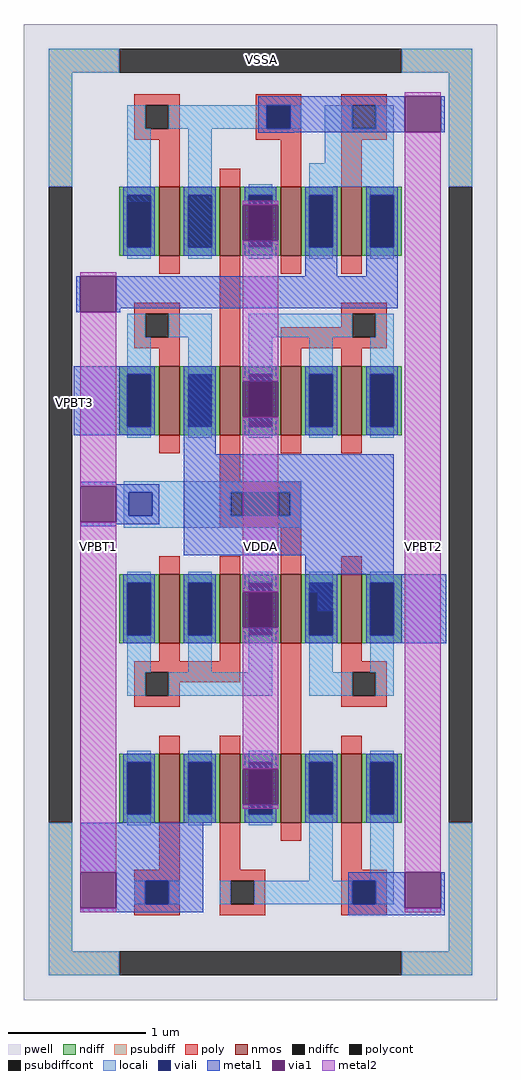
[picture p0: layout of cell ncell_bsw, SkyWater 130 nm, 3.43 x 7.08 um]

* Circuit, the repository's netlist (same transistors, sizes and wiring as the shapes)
* NGSPICE file created from ncell_bsw.ext - technology: sky130A

.subckt sky130_fd_pr__nfet_01v8_6J3TAM a_n15_n76# a_n73_n50# a_15_n50# VSUBS
X0 a_15_n50# a_n15_n76# a_n73_n50# VSUBS sky130_fd_pr__nfet_01v8 ad=0.145 pd=1.58 as=0.145 ps=1.58 w=0.5 l=0.15
.ends

.subckt ncell_bsw VDDA VPBT1 VPBT2 VPBT3 VSSA
Xsky130_fd_pr__nfet_01v8_6J3TAM_10 VPBT1 VDDA VPBT3 VSSA sky130_fd_pr__nfet_01v8_6J3TAM
Xsky130_fd_pr__nfet_01v8_6J3TAM_11 VPBT1 VPBT1 VPBT1 VSSA sky130_fd_pr__nfet_01v8_6J3TAM
Xsky130_fd_pr__nfet_01v8_6J3TAM_12 VPBT2 VDDA VPBT1 VSSA sky130_fd_pr__nfet_01v8_6J3TAM
Xsky130_fd_pr__nfet_01v8_6J3TAM_13 VPBT1 VPBT2 VDDA VSSA sky130_fd_pr__nfet_01v8_6J3TAM
Xsky130_fd_pr__nfet_01v8_6J3TAM_14 VPBT2 VPBT2 VPBT2 VSSA sky130_fd_pr__nfet_01v8_6J3TAM
Xsky130_fd_pr__nfet_01v8_6J3TAM_15 VPBT1 VPBT1 VPBT1 VSSA sky130_fd_pr__nfet_01v8_6J3TAM
Xsky130_fd_pr__nfet_01v8_6J3TAM_0 VDDA VDDA VDDA VSSA sky130_fd_pr__nfet_01v8_6J3TAM
Xsky130_fd_pr__nfet_01v8_6J3TAM_1 VPBT1 VPBT2 VDDA VSSA sky130_fd_pr__nfet_01v8_6J3TAM
Xsky130_fd_pr__nfet_01v8_6J3TAM_2 VPBT2 VDDA VPBT1 VSSA sky130_fd_pr__nfet_01v8_6J3TAM
Xsky130_fd_pr__nfet_01v8_6J3TAM_3 VPBT2 VPBT2 VPBT2 VSSA sky130_fd_pr__nfet_01v8_6J3TAM
Xsky130_fd_pr__nfet_01v8_6J3TAM_4 VPBT3 VPBT3 VPBT3 VSSA sky130_fd_pr__nfet_01v8_6J3TAM
Xsky130_fd_pr__nfet_01v8_6J3TAM_5 VPBT1 VPBT3 VDDA VSSA sky130_fd_pr__nfet_01v8_6J3TAM
Xsky130_fd_pr__nfet_01v8_6J3TAM_6 VDDA VDDA VDDA VSSA sky130_fd_pr__nfet_01v8_6J3TAM
Xsky130_fd_pr__nfet_01v8_6J3TAM_7 VPBT3 VPBT3 VPBT3 VSSA sky130_fd_pr__nfet_01v8_6J3TAM
Xsky130_fd_pr__nfet_01v8_6J3TAM_8 VDDA VDDA VDDA VSSA sky130_fd_pr__nfet_01v8_6J3TAM
Xsky130_fd_pr__nfet_01v8_6J3TAM_9 VDDA VDDA VDDA VSSA sky130_fd_pr__nfet_01v8_6J3TAM
.ends

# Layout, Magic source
magic
tech sky130A
magscale 1 2
<< pwell >>
rect 4653 -1676 5339 -261
<< psubdiff >>
rect 4689 -332 4791 -297
rect 5201 -332 5303 -297
rect 4689 -497 4723 -332
rect 5269 -497 5303 -332
rect 4689 -1605 4723 -1419
rect 5269 -1605 5303 -1419
rect 4689 -1640 4791 -1605
rect 5201 -1640 5303 -1605
<< psubdiffcont >>
rect 4791 -332 5201 -297
rect 4689 -1419 4723 -497
rect 5269 -1419 5303 -497
rect 4791 -1640 5201 -1605
<< poly >>
rect 4813 -379 4879 -363
rect 4813 -413 4829 -379
rect 4863 -413 4879 -379
rect 4813 -429 4879 -413
rect 4989 -379 5055 -363
rect 4989 -413 5005 -379
rect 5039 -413 5055 -379
rect 4989 -429 5055 -413
rect 4849 -471 4879 -429
rect 5025 -471 5055 -429
rect 5113 -379 5179 -363
rect 5113 -413 5129 -379
rect 5163 -413 5179 -379
rect 5113 -429 5179 -413
rect 5113 -471 5143 -429
rect 4813 -681 4879 -665
rect 4813 -715 4829 -681
rect 4863 -715 4879 -681
rect 4813 -731 4879 -715
rect 4937 -731 4967 -623
rect 5113 -681 5179 -665
rect 5113 -701 5129 -681
rect 5025 -715 5129 -701
rect 5163 -715 5179 -681
rect 5025 -731 5179 -715
rect 4937 -925 4967 -883
rect 4937 -940 5055 -925
rect 4937 -974 4953 -940
rect 5039 -974 5055 -940
rect 4937 -991 5055 -974
rect 5025 -1033 5055 -991
rect 4813 -1201 4967 -1185
rect 4813 -1235 4829 -1201
rect 4863 -1215 4967 -1201
rect 4863 -1235 4879 -1215
rect 4813 -1251 4879 -1235
rect 5025 -1293 5055 -1185
rect 5113 -1201 5179 -1185
rect 5113 -1235 5129 -1201
rect 5163 -1235 5179 -1201
rect 5113 -1251 5179 -1235
rect 4849 -1487 4879 -1419
rect 4813 -1503 4879 -1487
rect 4813 -1537 4829 -1503
rect 4863 -1537 4879 -1503
rect 4813 -1553 4879 -1537
rect 4937 -1487 4967 -1419
rect 5113 -1487 5143 -1419
rect 4937 -1503 5003 -1487
rect 4937 -1537 4953 -1503
rect 4987 -1537 5003 -1503
rect 4937 -1553 5003 -1537
rect 5113 -1503 5179 -1487
rect 5113 -1537 5129 -1503
rect 5163 -1537 5179 -1503
rect 5113 -1553 5179 -1537
<< polycont >>
rect 4829 -413 4863 -379
rect 5005 -413 5039 -379
rect 5129 -413 5163 -379
rect 4829 -715 4863 -681
rect 5129 -715 5163 -681
rect 4953 -974 5039 -940
rect 4829 -1235 4863 -1201
rect 5129 -1235 5163 -1201
rect 4829 -1537 4863 -1503
rect 4953 -1537 4987 -1503
rect 5129 -1537 5163 -1503
<< locali >>
rect 4689 -332 4791 -297
rect 5201 -332 5303 -297
rect 4689 -497 4723 -332
rect 4803 -413 4829 -379
rect 4863 -413 5005 -379
rect 5039 -413 5055 -379
rect 5089 -413 5129 -379
rect 5163 -413 5189 -379
rect 4803 -519 4837 -413
rect 4891 -598 4925 -413
rect 5089 -463 5189 -413
rect 5067 -493 5189 -463
rect 5089 -497 5189 -493
rect 5269 -497 5303 -332
rect 4803 -715 4829 -681
rect 4863 -715 4925 -681
rect 4803 -757 4837 -715
rect 4891 -758 4925 -715
rect 4979 -715 5129 -681
rect 5163 -715 5189 -681
rect 4979 -754 5013 -715
rect 5067 -766 5101 -715
rect 5155 -757 5189 -715
rect 4798 -940 5055 -924
rect 4798 -974 4805 -940
rect 4839 -974 4953 -940
rect 5039 -974 5055 -940
rect 4798 -991 5055 -974
rect 4803 -1201 4837 -1163
rect 4891 -1201 4925 -1163
rect 4979 -1201 5013 -1163
rect 4803 -1235 4829 -1201
rect 4863 -1235 5013 -1201
rect 5067 -1201 5101 -1163
rect 5155 -1201 5189 -1163
rect 5067 -1235 5129 -1201
rect 5163 -1235 5189 -1201
rect 4689 -1605 4723 -1419
rect 5067 -1503 5101 -1417
rect 5155 -1503 5189 -1417
rect 4813 -1537 4829 -1503
rect 4863 -1537 4879 -1503
rect 4937 -1537 4953 -1503
rect 4987 -1537 5129 -1503
rect 5163 -1537 5189 -1503
rect 5269 -1605 5303 -1419
rect 4689 -1640 4791 -1605
rect 5201 -1640 5303 -1605
<< viali >>
rect 5005 -413 5039 -379
rect 4805 -974 4839 -940
rect 4829 -1537 4863 -1503
rect 5129 -1537 5163 -1503
<< metal1 >>
rect 4993 -379 5205 -366
rect 4993 -413 5005 -379
rect 5039 -413 5205 -379
rect 4993 -418 5205 -413
rect 5257 -418 5263 -366
rect 4993 -419 5045 -418
rect 4970 -523 5022 -517
rect 4970 -581 5022 -575
rect 5061 -627 5107 -586
rect 5149 -627 5195 -597
rect 4729 -679 4735 -627
rect 4787 -673 5195 -627
rect 4787 -679 4793 -673
rect 4725 -857 4797 -757
rect 4924 -762 4931 -757
rect 4885 -885 4931 -762
rect 4970 -779 5022 -773
rect 4970 -837 5022 -831
rect 4735 -928 4787 -925
rect 4735 -931 4849 -928
rect 4787 -940 4849 -931
rect 4787 -974 4805 -940
rect 4839 -974 4849 -940
rect 4787 -983 4849 -974
rect 4735 -986 4849 -983
rect 4735 -989 4787 -986
rect 4885 -1031 5189 -885
rect 5061 -1059 5189 -1031
rect 4970 -1084 5022 -1078
rect 5061 -1085 5107 -1059
rect 5079 -1112 5107 -1085
rect 4970 -1142 5022 -1136
rect 5195 -1159 5265 -1059
rect 4970 -1341 5022 -1335
rect 4970 -1399 5022 -1393
rect 4735 -1491 4913 -1419
rect 4787 -1503 4913 -1491
rect 4787 -1537 4829 -1503
rect 4863 -1537 4913 -1503
rect 4787 -1543 4913 -1537
rect 4735 -1549 4913 -1543
rect 5123 -1503 5205 -1491
rect 5123 -1537 5129 -1503
rect 5163 -1537 5205 -1503
rect 5123 -1543 5205 -1537
rect 5257 -1543 5263 -1491
rect 5123 -1553 5263 -1543
<< via1 >>
rect 5205 -418 5257 -366
rect 4970 -575 5022 -523
rect 4735 -679 4787 -627
rect 4970 -831 5022 -779
rect 4735 -983 4787 -931
rect 4970 -1136 5022 -1084
rect 4970 -1393 5022 -1341
rect 4735 -1543 4787 -1491
rect 5205 -1543 5257 -1491
<< metal2 >>
rect 5205 -366 5257 -360
rect 4970 -523 5022 -517
rect 4735 -627 4787 -621
rect 4735 -931 4787 -679
rect 4735 -1491 4787 -983
rect 4970 -779 5022 -575
rect 4970 -1084 5022 -831
rect 4970 -1341 5022 -1136
rect 4970 -1399 5022 -1393
rect 4735 -1549 4787 -1543
rect 5205 -1491 5257 -418
rect 5205 -1549 5257 -1543
use sky130_fd_pr__nfet_01v8_6J3TAM  sky130_fd_pr__nfet_01v8_6J3TAM_0
transform 1 0 5128 0 1 -807
box -73 -76 73 76
use sky130_fd_pr__nfet_01v8_6J3TAM  sky130_fd_pr__nfet_01v8_6J3TAM_1
transform 1 0 4952 0 1 -547
box -73 -76 73 76
use sky130_fd_pr__nfet_01v8_6J3TAM  sky130_fd_pr__nfet_01v8_6J3TAM_2
transform 1 0 5040 0 1 -547
box -73 -76 73 76
use sky130_fd_pr__nfet_01v8_6J3TAM  sky130_fd_pr__nfet_01v8_6J3TAM_3
transform 1 0 4864 0 1 -547
box -73 -76 73 76
use sky130_fd_pr__nfet_01v8_6J3TAM  sky130_fd_pr__nfet_01v8_6J3TAM_4
transform 1 0 5128 0 1 -1109
box -73 -76 73 76
use sky130_fd_pr__nfet_01v8_6J3TAM  sky130_fd_pr__nfet_01v8_6J3TAM_5
transform 1 0 4952 0 1 -807
box -73 -76 73 76
use sky130_fd_pr__nfet_01v8_6J3TAM  sky130_fd_pr__nfet_01v8_6J3TAM_6
transform 1 0 5040 0 1 -807
box -73 -76 73 76
use sky130_fd_pr__nfet_01v8_6J3TAM  sky130_fd_pr__nfet_01v8_6J3TAM_7
transform 1 0 4864 0 1 -807
box -73 -76 73 76
use sky130_fd_pr__nfet_01v8_6J3TAM  sky130_fd_pr__nfet_01v8_6J3TAM_8
transform 1 0 4864 0 1 -1109
box -73 -76 73 76
use sky130_fd_pr__nfet_01v8_6J3TAM  sky130_fd_pr__nfet_01v8_6J3TAM_9
transform 1 0 4952 0 1 -1109
box -73 -76 73 76
use sky130_fd_pr__nfet_01v8_6J3TAM  sky130_fd_pr__nfet_01v8_6J3TAM_10
transform 1 0 5040 0 1 -1109
box -73 -76 73 76
use sky130_fd_pr__nfet_01v8_6J3TAM  sky130_fd_pr__nfet_01v8_6J3TAM_11
transform 1 0 5128 0 1 -547
box -73 -76 73 76
use sky130_fd_pr__nfet_01v8_6J3TAM  sky130_fd_pr__nfet_01v8_6J3TAM_12
transform -1 0 4952 0 -1 -1369
box -73 -76 73 76
use sky130_fd_pr__nfet_01v8_6J3TAM  sky130_fd_pr__nfet_01v8_6J3TAM_13
transform -1 0 5040 0 -1 -1369
box -73 -76 73 76
use sky130_fd_pr__nfet_01v8_6J3TAM  sky130_fd_pr__nfet_01v8_6J3TAM_14
transform -1 0 5128 0 -1 -1369
box -73 -76 73 76
use sky130_fd_pr__nfet_01v8_6J3TAM  sky130_fd_pr__nfet_01v8_6J3TAM_15
transform -1 0 4864 0 -1 -1369
box -73 -76 73 76
<< labels >>
flabel metal2 s 4996 -1018 4996 -1018 0 FreeSans 320 0 0 0 VDDA
port 1 nsew
flabel locali s 4997 -313 4997 -313 0 FreeSans 320 0 0 0 VSSA
port 5 nsew
flabel metal2 s 4761 -1018 4761 -1018 0 FreeSans 320 0 0 0 VPBT1
port 2 nsew
flabel metal2 s 5232 -1018 5232 -1018 0 FreeSans 320 0 0 0 VPBT2
port 3 nsew
flabel metal1 s 4727 -810 4727 -810 0 FreeSans 320 0 0 0 VPBT3
port 4 nsew
<< end >>

# cell sky130_fd_pr__nfet_01v8_6J3TAM: kit device sky130_fd_pr__nfet_01v8, w 0.5 l 0.15 m 1 nf 1 diffcov 100 polycov 100 guard 0 glc 1 grc 1 gtc 1 gbc 1 tbcov 100 rlcov 100 topc 0 botc 0 poverlap 0 doverlap 0 lmin 0.15 wmin 0.42 compatible {sky130_fd_pr__nfet_01v8 sky130_fd_pr__nfet_01v8_lvt sky130_fd_bs_flash__special_sonosfet_star sky130_fd_pr__nfet_g5v0d10v5 sky130_fd_pr__nfet_05v0_nvt sky130_fd_pr__nfet_03v3_nvt} full_metal 1 viasrc 100 viadrn 100 viagate 100 viagb 0 viagr 0 viagl 0 viagt 0
